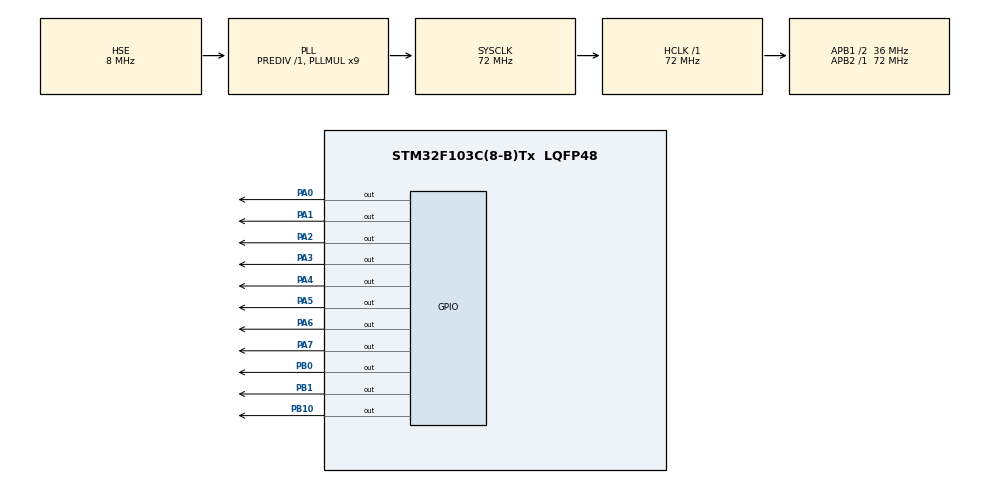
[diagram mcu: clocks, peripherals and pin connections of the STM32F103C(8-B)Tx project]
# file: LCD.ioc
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Mcu.Family=STM32F1
Mcu.Name=STM32F103C(8-B)Tx
Mcu.Package=LQFP48
NVIC.PriorityGroup=NVIC_PRIORITYGROUP_4
PA0-WKUP.Signal=GPIO_Output
PA1.Signal=GPIO_Output
PA13.Mode=Serial_Wire
PA13.Signal=SYS_JTMS-SWDIO
PA14.Mode=Serial_Wire
PA14.Signal=SYS_JTCK-SWCLK
PA2.Signal=GPIO_Output
PA3.Signal=GPIO_Output
PA4.Signal=GPIO_Output
PA5.Signal=GPIO_Output
PA6.Signal=GPIO_Output
PA7.Signal=GPIO_Output
PB0.Signal=GPIO_Output
PB1.Signal=GPIO_Output
PB10.Signal=GPIO_Output
PD0-OSC_IN.Mode=HSE-External-Oscillator
PD0-OSC_IN.Signal=RCC_OSC_IN
PD1-OSC_OUT.Mode=HSE-External-Oscillator
PD1-OSC_OUT.Signal=RCC_OSC_OUT
ProjectManager.HeapSize=0x200
ProjectManager.StackSize=0x400
ProjectManager.TargetToolchain=MDK-ARM V5.32
RCC.AHBFreq_Value=72000000
RCC.APB1CLKDivider=RCC_HCLK_DIV2
RCC.APB1Freq_Value=36000000
RCC.APB1TimFreq_Value=72000000
RCC.APB2Freq_Value=72000000
RCC.APB2TimFreq_Value=72000000
RCC.HCLKFreq_Value=72000000
RCC.PLLMUL=RCC_PLL_MUL9
RCC.PLLSourceVirtual=RCC_PLLSOURCE_HSE
RCC.SYSCLKFreq_VALUE=72000000
RCC.SYSCLKSource=RCC_SYSCLKSOURCE_PLLCLK
RCC.USBFreq_Value=72000000
board=custom

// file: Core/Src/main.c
/* USER CODE BEGIN Header */
/**
  ******************************************************************************
  * @file           : main.c
  * @brief          : Main program body
  ******************************************************************************
  * @attention
  *
  * Copyright (c) 2025 STMicroelectronics.
  * All rights reserved.
  *
  * This software is licensed under terms that can be found in the LICENSE file
  * in the root directory of this software component.
  * If no LICENSE file comes with this software, it is provided AS-IS.
  *
  ******************************************************************************
  */
/* USER CODE END Header */
#include "main.h"

void SystemClock_Config(void);
static void MX_GPIO_Init(void);

/* USER CODE BEGIN 0 */
#define MDATA 0x01
#define MCMD  0x00

void LCD_Init();
void LCD_Print(char *str);
void LCD_Write_Byte(uint8_t data,uint8_t mode);// write 1 byte
void LCD_Write_data(uint8_t data);
void LCD_Write_cmd(uint8_t data);

void LCD_Write_Byte(uint8_t data, uint8_t mode){// write 1 byte

	if(mode == 0x01){
		HAL_GPIO_WritePin(GPIOB, GPIO_PIN_0,1);
	//data
	}else if(mode == 0x00){
		HAL_GPIO_WritePin(GPIOB, GPIO_PIN_0,0);
	}
	HAL_GPIO_WritePin(GPIOA, GPIO_PIN_0, (data & 0x01) ? 1 : 0);
	HAL_GPIO_WritePin(GPIOA, GPIO_PIN_1, (data & 0x02) ? 1 : 0);
	HAL_GPIO_WritePin(GPIOA, GPIO_PIN_2, (data & 0x04) ? 1 : 0);
	HAL_GPIO_WritePin(GPIOA, GPIO_PIN_3, (data & 0x08) ? 1 : 0);
	HAL_GPIO_WritePin(GPIOA, GPIO_PIN_4, (data & 0x10) ? 1 : 0);
	HAL_GPIO_WritePin(GPIOA, GPIO_PIN_5, (data & 0x20) ? 1 : 0);
	HAL_GPIO_WritePin(GPIOA, GPIO_PIN_6, (data & 0x40) ? 1 : 0);
	HAL_GPIO_WritePin(GPIOA, GPIO_PIN_7, (data & 0x80) ? 1 : 0);
	//cmd

	HAL_GPIO_WritePin(GPIOB, GPIO_PIN_10, 0);
	HAL_Delay(1);
	HAL_GPIO_WritePin(GPIOB, GPIO_PIN_10, 1);
	HAL_Delay(1);
	HAL_GPIO_WritePin(GPIOB, GPIO_PIN_10, 0);
	HAL_Delay(1);
}

void LCD_Write_data(uint8_t data){
	LCD_Write_Byte(data, 1);
}
void LCD_Write_cmd(uint8_t data){
	LCD_Write_Byte(data, 0);
}

void LCD_Init(){
	HAL_Delay(50);
	LCD_Write_cmd(0x38); //Function set 8bit interface, 2line 5*7 pixels
	HAL_Delay(5);
	LCD_Write_cmd(0x0C);
	HAL_Delay(5);
	LCD_Write_cmd(0x06); //kieu hien chu tu trai sang phai
	HAL_Delay(5);
}

void LCD_Print(char *str){
	while(*str){
		LCD_Write_data(*str++);
	}

}
/* USER CODE END 0 */

int main(void)
{

  /* MCU Configuration--------------------------------------------------------*/

  /* Reset of all peripherals, Initializes the Flash interface and the Systick. */
  HAL_Init();

  /* Configure the system clock */
  SystemClock_Config();

  /* Initialize all configured peripherals */
  MX_GPIO_Init();
  /* USER CODE BEGIN 2 */
	HAL_GPIO_WritePin(GPIOB, GPIO_PIN_1, 0);
	LCD_Init();
	LCD_Print("Hello World");
	LCD_Write_data('A');
  /* USER CODE END 2 */

  /* Infinite loop */
  while (1)
  {

  }
}

void SystemClock_Config(void)
{
  RCC_OscInitTypeDef RCC_OscInitStruct = {0};
  RCC_ClkInitTypeDef RCC_ClkInitStruct = {0};

  /** Initializes the RCC Oscillators according to the specified parameters
  * in the RCC_OscInitTypeDef structure.
  */
  RCC_OscInitStruct.OscillatorType = RCC_OSCILLATORTYPE_HSE;
  RCC_OscInitStruct.HSEState = RCC_HSE_ON;
  RCC_OscInitStruct.HSEPredivValue = RCC_HSE_PREDIV_DIV1;
  RCC_OscInitStruct.HSIState = RCC_HSI_ON;
  RCC_OscInitStruct.PLL.PLLState = RCC_PLL_ON;
  RCC_OscInitStruct.PLL.PLLSource = RCC_PLLSOURCE_HSE;
  RCC_OscInitStruct.PLL.PLLMUL = RCC_PLL_MUL9;
  if (HAL_RCC_OscConfig(&RCC_OscInitStruct) != HAL_OK)
  {
    Error_Handler();
  }

  /** Initializes the CPU, AHB and APB buses clocks
  */
  RCC_ClkInitStruct.ClockType = RCC_CLOCKTYPE_HCLK|RCC_CLOCKTYPE_SYSCLK
                              |RCC_CLOCKTYPE_PCLK1|RCC_CLOCKTYPE_PCLK2;
  RCC_ClkInitStruct.SYSCLKSource = RCC_SYSCLKSOURCE_PLLCLK;
  RCC_ClkInitStruct.AHBCLKDivider = RCC_SYSCLK_DIV1;
  RCC_ClkInitStruct.APB1CLKDivider = RCC_HCLK_DIV2;
  RCC_ClkInitStruct.APB2CLKDivider = RCC_HCLK_DIV1;

  if (HAL_RCC_ClockConfig(&RCC_ClkInitStruct, FLASH_LATENCY_2) != HAL_OK)
  {
    Error_Handler();
  }
}

static void MX_GPIO_Init(void)
{
  GPIO_InitTypeDef GPIO_InitStruct = {0};

  /* GPIO Ports Clock Enable */
  __HAL_RCC_GPIOD_CLK_ENABLE();
  __HAL_RCC_GPIOA_CLK_ENABLE();
  __HAL_RCC_GPIOB_CLK_ENABLE();

  /*Configure GPIO pin Output Level */
  HAL_GPIO_WritePin(GPIOA, GPIO_PIN_0|GPIO_PIN_1|GPIO_PIN_2|GPIO_PIN_3
                          |GPIO_PIN_4|GPIO_PIN_5|GPIO_PIN_6|GPIO_PIN_7, GPIO_PIN_RESET);

  /*Configure GPIO pin Output Level */
  HAL_GPIO_WritePin(GPIOB, GPIO_PIN_0|GPIO_PIN_1|GPIO_PIN_10, GPIO_PIN_RESET);

  /*Configure GPIO pins : PA0 PA1 PA2 PA3
                           PA4 PA5 PA6 PA7 */
  GPIO_InitStruct.Pin = GPIO_PIN_0|GPIO_PIN_1|GPIO_PIN_2|GPIO_PIN_3
                          |GPIO_PIN_4|GPIO_PIN_5|GPIO_PIN_6|GPIO_PIN_7;
  GPIO_InitStruct.Mode = GPIO_MODE_OUTPUT_PP;
  GPIO_InitStruct.Pull = GPIO_NOPULL;
  GPIO_InitStruct.Speed = GPIO_SPEED_FREQ_LOW;
  HAL_GPIO_Init(GPIOA, &GPIO_InitStruct);

  /*Configure GPIO pins : PB0 PB1 PB10 */
  GPIO_InitStruct.Pin = GPIO_PIN_0|GPIO_PIN_1|GPIO_PIN_10;
  GPIO_InitStruct.Mode = GPIO_MODE_OUTPUT_PP;
  GPIO_InitStruct.Pull = GPIO_NOPULL;
  GPIO_InitStruct.Speed = GPIO_SPEED_FREQ_LOW;
  HAL_GPIO_Init(GPIOB, &GPIO_InitStruct);

}

void Error_Handler(void)
{
  __disable_irq();
  while (1)
  {
  }
}
